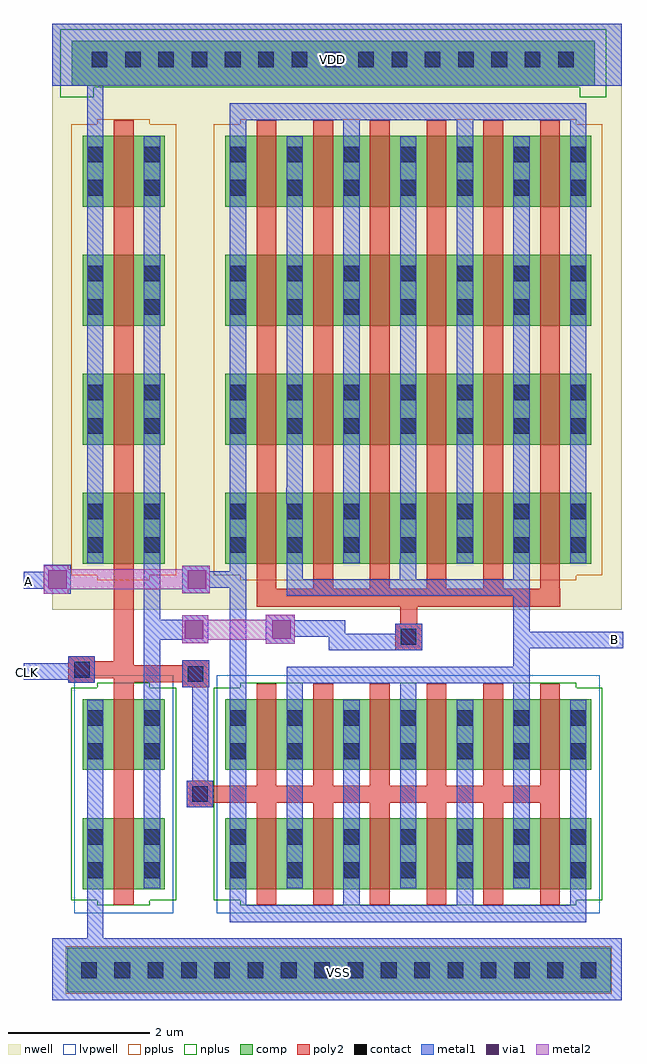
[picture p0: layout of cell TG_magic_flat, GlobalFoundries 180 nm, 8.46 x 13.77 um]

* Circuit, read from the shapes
.subckt TG_magic_flat A B CLK VDD VSS
XM1 n1 CLK VSS VSS nfet_03v3 w=1u l=0.28u m=2
XM2 B CLK A VSS nfet_03v3 w=1u l=0.28u m=12
XM3 n1 CLK VDD VDD pfet_03v3 w=1u l=0.28u m=4
XM4 B n1 A VDD pfet_03v3 w=1u l=0.28u m=24
.ends

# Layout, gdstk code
import gdstk
lib = gdstk.Library(unit=1e-6, precision=1e-09)
def R(c, l, rs):  # rectangles x0, y0, x1, y1
    for r in rs: c.add(gdstk.rectangle(r[:2], r[2:], *l))
def A(c, l, x, y, w, h, nx, ny, dx, dy):  # array of equal rectangles
    R(c, l, [(x+i*dx, y+j*dy, x+i*dx+w, y+j*dy+h) for i in range(nx) for j in range(ny)])
nwell = (21, 0)
comp = (22, 0)
poly2 = (30, 0)
pplus = (31, 0)
nplus = (32, 0)
contact = (33, 0)
metal1 = (34, 0)
via1 = (35, 0)
metal2 = (36, 0)
lvpwell = (204, 0)

tg_magic_flat = lib.new_cell('TG_magic_flat')
R(tg_magic_flat, nwell, [(0.185,1.1,8.22,9.365)])
A(tg_magic_flat, comp, 0.615, 1.75, 1.16, 1, 1, 4, 0, 1.68)
A(tg_magic_flat, comp, 2.63, 1.75, 5.16, 1, 1, 4, 0, 1.68)
R(tg_magic_flat, comp, [(0.4,-4.295,8.065,-3.67), (0.615,-2.84,1.775,-1.84), (2.63,-2.84,7.79,-1.84), (0.615,-1.16,1.775,-0.16), (2.63,-1.16,7.79,-0.16), (0.46,8.495,7.845,9.13)])
A(tg_magic_flat, poly2, 3.07, -3.06, 0.28, 1.44, 6, 2, 0.8, 1.68)
A(tg_magic_flat, poly2, 3.07, 1.395, 0.28, 6.615, 6, 1, 0.8, 0)
R(tg_magic_flat, poly2, [(1.055,-3.06,1.335,0.08), (2.085,-1.685,2.46,-1.62), (2.085,-1.62,7.35,-1.38), (2.085,-1.38,2.46,-1.31), (2.025,0.01,2.4,0.08), (0.415,0.07,0.79,0.135), (1.055,0.08,2.4,0.135), (0.415,0.135,2.4,0.32), (0.415,0.32,1.335,0.375), (2.025,0.32,2.4,0.385), (0.415,0.375,0.79,0.445), (1.055,0.375,1.335,8.01), (5.03,0.53,5.405,0.905), (5.1,0.905,5.34,1.145), (3.07,1.145,7.355,1.395)])
R(tg_magic_flat, pplus, [(0.38,-4.315,8.085,-3.65), (0.825,1.52,1.565,1.59), (2.84,1.52,7.58,1.59), (0.455,1.59,1.935,7.95), (2.47,1.59,7.95,7.95), (0.825,7.95,1.565,8.02), (2.84,7.95,7.58,8.02)])
R(tg_magic_flat, nplus, [(0.825,-3.07,1.565,-3), (2.84,-3.07,7.58,-3), (0.455,-3,1.935,0), (2.47,-3,7.95,0), (0.825,0,1.565,0.07), (2.84,0,7.58,0.07), (0.3,8.335,0.775,8.475), (7.63,8.335,8.005,8.475), (0.3,8.475,8.005,9.29)])
A(tg_magic_flat, contact, 0.595, -4.095, 0.22, 0.22, 16, 1, 0.47, 0)
A(tg_magic_flat, contact, 2.7, -2.685, 0.22, 0.22, 7, 2, 0.8, 0.47)
A(tg_magic_flat, contact, 2.7, -1.005, 0.22, 0.22, 7, 2, 0.8, 0.47)
A(tg_magic_flat, contact, 2.7, 1.905, 0.22, 0.22, 7, 2, 0.8, 0.47)
A(tg_magic_flat, contact, 2.7, 3.585, 0.22, 0.22, 7, 2, 0.8, 0.47)
A(tg_magic_flat, contact, 2.7, 5.265, 0.22, 0.22, 7, 2, 0.8, 0.47)
A(tg_magic_flat, contact, 2.7, 6.945, 0.22, 0.22, 7, 2, 0.8, 0.47)
A(tg_magic_flat, contact, 0.745, 8.755, 0.22, 0.22, 15, 1, 0.47, 0)
R(tg_magic_flat, contact, [(0.685,-2.685,0.905,-2.465), (1.485,-2.685,1.705,-2.465), (0.685,-2.215,0.905,-1.995), (1.485,-2.215,1.705,-1.995), (2.165,-1.61,2.385,-1.39), (0.685,-1.005,0.905,-0.785), (1.485,-1.005,1.705,-0.785), (0.685,-0.535,0.905,-0.315), (1.485,-0.535,1.705,-0.315), (2.1,0.085,2.32,0.305), (0.495,0.145,0.715,0.365), (5.105,0.61,5.325,0.83), (0.685,1.905,0.905,2.125), (1.485,1.905,1.705,2.125), (0.685,2.375,0.905,2.595), (1.485,2.375,1.705,2.595), (0.685,3.585,0.905,3.805), (1.485,3.585,1.705,3.805), (0.685,4.055,0.905,4.275), (1.485,4.055,1.705,4.275), (0.685,5.265,0.905,5.485), (1.485,5.265,1.705,5.485), (0.685,5.735,0.905,5.955), (1.485,5.735,1.705,5.955), (0.685,6.945,0.905,7.165), (1.485,6.945,1.705,7.165), (0.685,7.415,0.905,7.635), (1.485,7.415,1.705,7.635)])
A(tg_magic_flat, metal1, 4.295, -3.065, 0.23, 2.895, 3, 1, 1.6, 0)
A(tg_magic_flat, metal1, 3.495, -2.83, 0.23, 2.895, 3, 1, 1.6, 0)
A(tg_magic_flat, metal1, 4.295, 1.76, 0.23, 6.25, 3, 1, 1.6, 0)
R(tg_magic_flat, metal1, [(0.185,-4.405,8.22,-3.535), (0.68,-3.535,0.91,-0.17), (2.695,-3.305,7.725,-3.065), (2.695,-3.065,2.925,1.41), (1.48,-2.83,1.71,0.68), (2.085,-1.685,2.46,-1.31), (2.16,-1.31,2.39,0.01), (2.025,0.01,2.4,0.385), (3.495,0.065,6.925,0.3), (0.415,0.07,0.79,0.115), (-0.215,0.115,0.79,0.345), (6.695,0.3,6.925,0.56), (0.415,0.345,0.79,0.445), (4.09,0.53,5.405,0.72), (6.695,0.56,8.245,0.79), (3.2,0.62,3.61,0.72), (2.02,0.625,2.39,0.68), (1.48,0.68,2.39,0.96), (3.2,0.72,5.405,0.76), (3.2,0.76,4.32,0.955), (5.03,0.76,5.405,0.905), (6.695,0.79,6.925,1.3), (3.2,0.955,3.61,1.03), (1.48,0.96,1.71,7.78), (2.02,0.96,2.39,1.02), (3.495,1.3,6.925,1.53), (0.065,1.33,0.45,1.4), (2.025,1.335,2.41,1.41), (-0.215,1.4,0.45,1.635), (2.025,1.41,2.925,1.645), (3.495,1.53,3.725,2.595), (5.09,1.53,5.325,1.815), (6.69,1.53,6.925,1.815), (0.065,1.635,0.45,1.735), (2.025,1.645,2.41,1.725), (2.695,1.645,2.925,8.01), (0.68,1.76,0.91,8.495), (5.095,1.815,5.325,7.78), (6.695,1.815,6.925,7.78), (3.49,2.595,3.725,2.825), (3.495,2.825,3.725,7.78), (2.695,8.01,7.725,8.25), (0.185,8.495,8.22,9.365)])
R(tg_magic_flat, via1, [(2.06,0.69,2.32,0.95), (3.29,0.69,3.55,0.95), (0.13,1.4,0.39,1.66), (2.1,1.4,2.36,1.66)])
R(tg_magic_flat, metal2, [(3.2,0.62,3.61,0.68), (2.02,0.625,2.39,0.68), (2.02,0.68,3.61,0.96), (2.02,0.96,2.39,1.02), (3.2,0.96,3.61,1.03), (0.065,1.33,0.415,1.39), (2.025,1.335,2.41,1.39), (0.065,1.39,2.41,1.67), (0.065,1.67,0.415,1.73), (2.025,1.67,2.41,1.725)])
R(tg_magic_flat, lvpwell, [(0.495,-3.18,1.895,0.18), (2.51,-3.18,7.91,0.18)])
tg_magic_flat.add(gdstk.Label('VDD', (4.14,8.86), layer=22, texttype=0))
tg_magic_flat.add(gdstk.Label('CLK', (-0.165,0.21), layer=34, texttype=10))
tg_magic_flat.add(gdstk.Label('A', (-0.14,1.5), layer=34, texttype=10))
tg_magic_flat.add(gdstk.Label('B', (8.12,0.68), layer=34, texttype=10))
tg_magic_flat.add(gdstk.Label('VSS', (4.23,-4.01), layer=22, texttype=0))

lib.write_gds('TG_magic_flat.gds')
